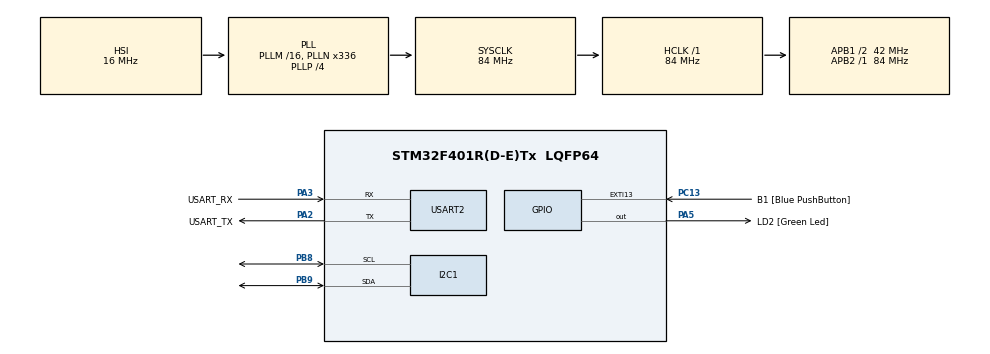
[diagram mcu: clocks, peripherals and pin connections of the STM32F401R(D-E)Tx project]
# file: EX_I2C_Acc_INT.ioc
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Dma.I2C1_RX.0.Direction=DMA_PERIPH_TO_MEMORY
Dma.I2C1_RX.0.FIFOMode=DMA_FIFOMODE_DISABLE
Dma.I2C1_RX.0.Instance=DMA1_Stream0
Dma.I2C1_RX.0.MemDataAlignment=DMA_MDATAALIGN_BYTE
Dma.I2C1_RX.0.MemInc=DMA_MINC_ENABLE
Dma.I2C1_RX.0.Mode=DMA_NORMAL
Dma.I2C1_RX.0.PeriphDataAlignment=DMA_PDATAALIGN_BYTE
Dma.I2C1_RX.0.PeriphInc=DMA_PINC_DISABLE
Dma.I2C1_RX.0.Priority=DMA_PRIORITY_LOW
Dma.Request0=I2C1_RX
Dma.Request1=USART2_TX
Dma.USART2_TX.1.Direction=DMA_MEMORY_TO_PERIPH
Dma.USART2_TX.1.FIFOMode=DMA_FIFOMODE_DISABLE
Dma.USART2_TX.1.Instance=DMA1_Stream6
Dma.USART2_TX.1.MemDataAlignment=DMA_MDATAALIGN_BYTE
Dma.USART2_TX.1.MemInc=DMA_MINC_ENABLE
Dma.USART2_TX.1.Mode=DMA_NORMAL
Dma.USART2_TX.1.PeriphDataAlignment=DMA_PDATAALIGN_BYTE
Dma.USART2_TX.1.PeriphInc=DMA_PINC_DISABLE
Dma.USART2_TX.1.Priority=DMA_PRIORITY_LOW
Mcu.Family=STM32F4
Mcu.Name=STM32F401R(D-E)Tx
Mcu.Package=LQFP64
NVIC.DMA1_Stream0_IRQn=true\:0\:0\:false\:false\:true\:false\:true
NVIC.DMA1_Stream6_IRQn=true\:0\:0\:false\:false\:true\:false\:true
NVIC.I2C1_EV_IRQn=true\:0\:0\:false\:false\:true\:true\:true
NVIC.PriorityGroup=NVIC_PRIORITYGROUP_0
NVIC.TIM2_IRQn=true\:0\:0\:false\:false\:true\:true\:true
NVIC.USART2_IRQn=true\:0\:0\:false\:false\:true\:true\:true
PA13.GPIO_Label=TMS
PA13.Mode=Serial_Wire
PA13.Signal=SYS_JTMS-SWDIO
PA14.GPIO_Label=TCK
PA14.Mode=Serial_Wire
PA14.Signal=SYS_JTCK-SWCLK
PA2.GPIO_Label=USART_TX
PA2.GPIO_Mode=GPIO_MODE_AF_PP
PA2.GPIO_PuPd=GPIO_NOPULL
PA2.GPIO_Speed=GPIO_SPEED_FREQ_LOW
PA2.Mode=Asynchronous
PA2.Signal=USART2_TX
PA3.GPIO_Label=USART_RX
PA3.GPIO_Mode=GPIO_MODE_AF_PP
PA3.GPIO_PuPd=GPIO_NOPULL
PA3.GPIO_Speed=GPIO_SPEED_FREQ_LOW
PA3.Mode=Asynchronous
PA3.Signal=USART2_RX
PA5.GPIO_Label=LD2 [Green Led]
PA5.GPIO_Mode=GPIO_MODE_OUTPUT_PP
PA5.GPIO_PuPd=GPIO_NOPULL
PA5.GPIO_Speed=GPIO_SPEED_FREQ_LOW
PA5.Signal=GPIO_Output
PB3.GPIO_Label=SWO
PB3.Signal=SYS_JTDO-SWO
PB8.Mode=I2C
PB8.Signal=I2C1_SCL
PB9.Mode=I2C
PB9.Signal=I2C1_SDA
PC13-ANTI_TAMP.GPIO_Label=B1 [Blue PushButton]
PC13-ANTI_TAMP.GPIO_ModeDefaultEXTI=GPIO_MODE_IT_FALLING
PC13-ANTI_TAMP.GPIO_PuPd=GPIO_NOPULL
PC13-ANTI_TAMP.Signal=GPXTI13
PC14-OSC32_IN.Mode=LSE-External-Oscillator
PC14-OSC32_IN.Signal=RCC_OSC32_IN
PC15-OSC32_OUT.Mode=LSE-External-Oscillator
PC15-OSC32_OUT.Signal=RCC_OSC32_OUT
PH0\ -\ OSC_IN.Mode=HSE-External-Clock-Source
PH0\ -\ OSC_IN.Signal=RCC_OSC_IN
PH1\ -\ OSC_OUT.Mode=HSE-External-Clock-Source
PH1\ -\ OSC_OUT.Signal=RCC_OSC_OUT
ProjectManager.HeapSize=0x200
ProjectManager.StackSize=0x400
ProjectManager.TargetToolchain=STM32CubeIDE
RCC.48MHZClocksFreq_Value=48000000
RCC.AHBFreq_Value=84000000
RCC.APB1CLKDivider=RCC_HCLK_DIV2
RCC.APB1Freq_Value=42000000
RCC.APB1TimFreq_Value=84000000
RCC.APB2Freq_Value=84000000
RCC.APB2TimFreq_Value=84000000
RCC.CortexFreq_Value=84000000
RCC.HCLKFreq_Value=84000000
RCC.HSE_VALUE=8000000
RCC.HSI_VALUE=16000000
RCC.PLLN=336
RCC.PLLP=RCC_PLLP_DIV4
RCC.PLLQ=7
RCC.SYSCLKFreq_VALUE=84000000
RCC.SYSCLKSource=RCC_SYSCLKSOURCE_PLLCLK
RCC.VCOOutputFreq_Value=336000000
TIM2.Period=10000-1
TIM2.Prescaler=8400-1
USART2.VirtualMode=VM_ASYNC
VP_TIM2_VS_ClockSourceINT.Mode=Internal
board=NUCLEO-F401RE

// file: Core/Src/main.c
/* USER CODE BEGIN Header */
/**
  ******************************************************************************
  * @file           : main.c
  * @brief          : Main program body
  ******************************************************************************
  * @attention
  *
  * Copyright (c) 2022 STMicroelectronics.
  * All rights reserved.
  *
  * This software is licensed under terms that can be found in the LICENSE file
  * in the root directory of this software component.
  * If no LICENSE file comes with this software, it is provided AS-IS.
  *
  ******************************************************************************
  */
/* USER CODE END Header */
#include "main.h"

I2C_HandleTypeDef hi2c1;
DMA_HandleTypeDef hdma_i2c1_rx;

TIM_HandleTypeDef htim2;

UART_HandleTypeDef huart2;
DMA_HandleTypeDef hdma_usart2_tx;

void SystemClock_Config(void);
static void MX_GPIO_Init(void);
static void MX_USART2_UART_Init(void);
static void MX_DMA_Init(void);
static void MX_I2C1_Init(void);
static void MX_TIM2_Init(void);

/* USER CODE BEGIN 0 */
#define LSI_ADDR 0b01010000
uint8_t X_Reg = 0x29;
uint8_t Y_Reg = 0x2B;
uint8_t Z_Reg = 0x2D;

int8_t axes[5];

void HAL_TIM_PeriodElapsedCallback(TIM_HandleTypeDef *htim)
{

	uint8_t multiread = X_Reg + 128;//MSB of the address is set to 1 for multireading
	HAL_I2C_Master_Transmit(&hi2c1, LSI_ADDR, &multiread, 1, 200);

	HAL_I2C_Master_Receive_DMA(&hi2c1, LSI_ADDR+1, axes, 5);

}

void HAL_I2C_MasterRxCpltCallback(I2C_HandleTypeDef *hi2c)
{
	char string[64];

	float x_g = axes[0]/64.0;
	float y_g = axes[2]/64.0;
	float z_g = axes[4]/64.0;

	 int length = snprintf(string, sizeof(string), "X: %+.2f g\r\nY: %+.2f g\r\nZ: %+.2f g\r\n\n\n",x_g,y_g,z_g);
	 HAL_UART_Transmit_DMA(&huart2, string, length);
}
/* USER CODE END 0 */

int main(void)
{

  /* MCU Configuration--------------------------------------------------------*/

  /* Reset of all peripherals, Initializes the Flash interface and the Systick. */
  HAL_Init();

  /* Configure the system clock */
  SystemClock_Config();

  /* USER CODE BEGIN SysInit */
  MX_DMA_Init();
  /* USER CODE END SysInit */

  /* Initialize all configured peripherals */
  MX_GPIO_Init();
  MX_USART2_UART_Init();
  MX_DMA_Init();
  MX_I2C1_Init();
  MX_TIM2_Init();
  /* USER CODE BEGIN 2 */
  HAL_TIM_Base_Start_IT(&htim2);

  uint8_t ctrl_reg1[] = {0x20, 0b00010111}; //0001 -> 1Hz 0-> Normal mode 111->X,Y,Z axes enabled
  uint8_t ctrl_reg2[] = {0x21, 0b00000000}; //all 0s-> all filters disabled
  uint8_t ctrl_reg4[] = {0x23, 0b00000000}; //3rd and 4th zeroes -> 2g resolution

  HAL_I2C_Master_Transmit(&hi2c1, LSI_ADDR, ctrl_reg1, 2, 200);
  HAL_I2C_Master_Transmit(&hi2c1, LSI_ADDR, ctrl_reg2, 2, 200);
  HAL_I2C_Master_Transmit(&hi2c1, LSI_ADDR, ctrl_reg4, 2, 200);
  /* USER CODE END 2 */

  /* Infinite loop */
  while (1)
  {

  }
}

void SystemClock_Config(void)
{
  RCC_OscInitTypeDef RCC_OscInitStruct = {0};
  RCC_ClkInitTypeDef RCC_ClkInitStruct = {0};

  /** Configure the main internal regulator output voltage
  */
  __HAL_RCC_PWR_CLK_ENABLE();
  __HAL_PWR_VOLTAGESCALING_CONFIG(PWR_REGULATOR_VOLTAGE_SCALE2);
  /** Initializes the RCC Oscillators according to the specified parameters
  * in the RCC_OscInitTypeDef structure.
  */
  RCC_OscInitStruct.OscillatorType = RCC_OSCILLATORTYPE_HSI;
  RCC_OscInitStruct.HSIState = RCC_HSI_ON;
  RCC_OscInitStruct.HSICalibrationValue = RCC_HSICALIBRATION_DEFAULT;
  RCC_OscInitStruct.PLL.PLLState = RCC_PLL_ON;
  RCC_OscInitStruct.PLL.PLLSource = RCC_PLLSOURCE_HSI;
  RCC_OscInitStruct.PLL.PLLM = 16;
  RCC_OscInitStruct.PLL.PLLN = 336;
  RCC_OscInitStruct.PLL.PLLP = RCC_PLLP_DIV4;
  RCC_OscInitStruct.PLL.PLLQ = 7;
  if (HAL_RCC_OscConfig(&RCC_OscInitStruct) != HAL_OK)
  {
    Error_Handler();
  }
  /** Initializes the CPU, AHB and APB buses clocks
  */
  RCC_ClkInitStruct.ClockType = RCC_CLOCKTYPE_HCLK|RCC_CLOCKTYPE_SYSCLK
                              |RCC_CLOCKTYPE_PCLK1|RCC_CLOCKTYPE_PCLK2;
  RCC_ClkInitStruct.SYSCLKSource = RCC_SYSCLKSOURCE_PLLCLK;
  RCC_ClkInitStruct.AHBCLKDivider = RCC_SYSCLK_DIV1;
  RCC_ClkInitStruct.APB1CLKDivider = RCC_HCLK_DIV2;
  RCC_ClkInitStruct.APB2CLKDivider = RCC_HCLK_DIV1;

  if (HAL_RCC_ClockConfig(&RCC_ClkInitStruct, FLASH_LATENCY_2) != HAL_OK)
  {
    Error_Handler();
  }
}

static void MX_I2C1_Init(void)
{

  hi2c1.Instance = I2C1;
  hi2c1.Init.ClockSpeed = 100000;
  hi2c1.Init.DutyCycle = I2C_DUTYCYCLE_2;
  hi2c1.Init.OwnAddress1 = 0;
  hi2c1.Init.AddressingMode = I2C_ADDRESSINGMODE_7BIT;
  hi2c1.Init.DualAddressMode = I2C_DUALADDRESS_DISABLE;
  hi2c1.Init.OwnAddress2 = 0;
  hi2c1.Init.GeneralCallMode = I2C_GENERALCALL_DISABLE;
  hi2c1.Init.NoStretchMode = I2C_NOSTRETCH_DISABLE;
  if (HAL_I2C_Init(&hi2c1) != HAL_OK)
  {
    Error_Handler();
  }

}

static void MX_TIM2_Init(void)
{

  TIM_ClockConfigTypeDef sClockSourceConfig = {0};
  TIM_MasterConfigTypeDef sMasterConfig = {0};

  htim2.Instance = TIM2;
  htim2.Init.Prescaler = 8400-1;
  htim2.Init.CounterMode = TIM_COUNTERMODE_UP;
  htim2.Init.Period = 10000-1;
  htim2.Init.ClockDivision = TIM_CLOCKDIVISION_DIV1;
  htim2.Init.AutoReloadPreload = TIM_AUTORELOAD_PRELOAD_DISABLE;
  if (HAL_TIM_Base_Init(&htim2) != HAL_OK)
  {
    Error_Handler();
  }
  sClockSourceConfig.ClockSource = TIM_CLOCKSOURCE_INTERNAL;
  if (HAL_TIM_ConfigClockSource(&htim2, &sClockSourceConfig) != HAL_OK)
  {
    Error_Handler();
  }
  sMasterConfig.MasterOutputTrigger = TIM_TRGO_RESET;
  sMasterConfig.MasterSlaveMode = TIM_MASTERSLAVEMODE_DISABLE;
  if (HAL_TIMEx_MasterConfigSynchronization(&htim2, &sMasterConfig) != HAL_OK)
  {
    Error_Handler();
  }

}

static void MX_USART2_UART_Init(void)
{

  huart2.Instance = USART2;
  huart2.Init.BaudRate = 115200;
  huart2.Init.WordLength = UART_WORDLENGTH_8B;
  huart2.Init.StopBits = UART_STOPBITS_1;
  huart2.Init.Parity = UART_PARITY_NONE;
  huart2.Init.Mode = UART_MODE_TX_RX;
  huart2.Init.HwFlowCtl = UART_HWCONTROL_NONE;
  huart2.Init.OverSampling = UART_OVERSAMPLING_16;
  if (HAL_UART_Init(&huart2) != HAL_OK)
  {
    Error_Handler();
  }

}

static void MX_DMA_Init(void)
{

  /* DMA controller clock enable */
  __HAL_RCC_DMA1_CLK_ENABLE();

  /* DMA interrupt init */
  /* DMA1_Stream0_IRQn interrupt configuration */
  HAL_NVIC_SetPriority(DMA1_Stream0_IRQn, 0, 0);
  HAL_NVIC_EnableIRQ(DMA1_Stream0_IRQn);
  /* DMA1_Stream6_IRQn interrupt configuration */
  HAL_NVIC_SetPriority(DMA1_Stream6_IRQn, 0, 0);
  HAL_NVIC_EnableIRQ(DMA1_Stream6_IRQn);

}

static void MX_GPIO_Init(void)
{
  GPIO_InitTypeDef GPIO_InitStruct = {0};

  /* GPIO Ports Clock Enable */
  __HAL_RCC_GPIOC_CLK_ENABLE();
  __HAL_RCC_GPIOH_CLK_ENABLE();
  __HAL_RCC_GPIOA_CLK_ENABLE();
  __HAL_RCC_GPIOB_CLK_ENABLE();

  /*Configure GPIO pin Output Level */
  HAL_GPIO_WritePin(LD2_GPIO_Port, LD2_Pin, GPIO_PIN_RESET);

  /*Configure GPIO pin : B1_Pin */
  GPIO_InitStruct.Pin = B1_Pin;
  GPIO_InitStruct.Mode = GPIO_MODE_IT_FALLING;
  GPIO_InitStruct.Pull = GPIO_NOPULL;
  HAL_GPIO_Init(B1_GPIO_Port, &GPIO_InitStruct);

  /*Configure GPIO pin : LD2_Pin */
  GPIO_InitStruct.Pin = LD2_Pin;
  GPIO_InitStruct.Mode = GPIO_MODE_OUTPUT_PP;
  GPIO_InitStruct.Pull = GPIO_NOPULL;
  GPIO_InitStruct.Speed = GPIO_SPEED_FREQ_LOW;
  HAL_GPIO_Init(LD2_GPIO_Port, &GPIO_InitStruct);

}

void Error_Handler(void)
{
  __disable_irq();
  while (1)
  {
  }
}
